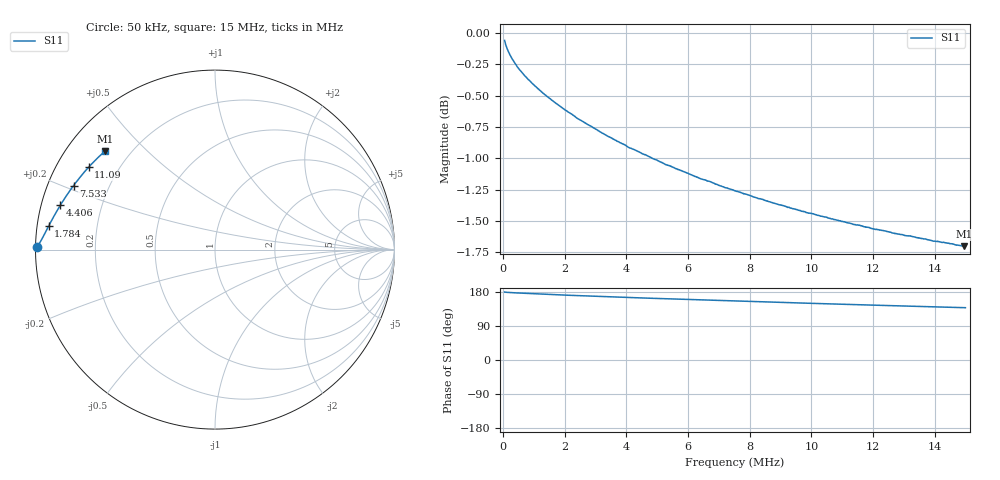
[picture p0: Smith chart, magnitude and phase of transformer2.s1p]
# HZ S RI R 50
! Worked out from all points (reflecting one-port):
!   1010 points, 50 kHz to 15 MHz, reference 50 ohm
!   lowest |S11| = -1.7 dB at 14.97 MHz (marker M1), VSWR 10.25, Z = 5.59 + j18.9 ohm
!   phase of S11 starts at 179 deg and turns -41 deg over the sweep
!   S11 on the Smith chart (normalised r, x): 50 kHz: 0.00, +0.01; 1.784 MHz: 0.03, +0.07; 4.406 MHz: 0.06, +0.14; 7.533 MHz: 0.08, +0.21; 11.09 MHz: 0.09, +0.29; 15 MHz: 0.11, +0.38
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50000  -0.9931 0.0131
94400  -0.9886 0.0212
198100  -0.9812 0.0304
331500  -0.9741 0.0422
509300  -0.9662 0.0555
716700  -0.9585 0.0698
1205700  -0.9433 0.0992
1783517  -0.9271 0.1306
1931717  -0.9231 0.1382
2316917  -0.913 0.157
2820717  -0.9004 0.1805
3368934  -0.8869 0.2043
3798634  -0.8765 0.2221
4406134  -0.8622 0.2465
4687651  -0.8553 0.2578
5665551  -0.8319 0.2935
6406468  -0.8144 0.3194
7532585  -0.7883 0.3564
8717885  -0.7605 0.3927
9399502  -0.7444 0.4122
1.0007e7  -0.7303 0.4296
1.108862e7  -0.7047 0.4585
1.126642e7  -0.7003 0.4631
1.243694e7  -0.6724 0.4926
1.313334e7  -0.6557 0.509
1.424465e7  -0.629 0.5338
1.497065e7  -0.6119 0.5491
1.500035e7  -0.6111 0.55
